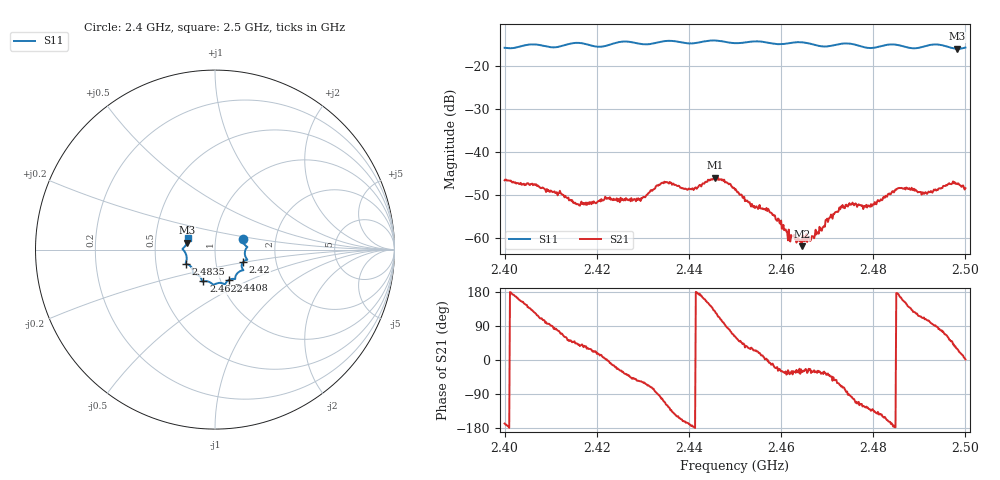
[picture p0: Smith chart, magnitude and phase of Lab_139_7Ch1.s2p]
# Hz S RI R 50
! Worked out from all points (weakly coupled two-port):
!   601 points, 2.4 GHz to 2.5 GHz, reference 50 ohm
!   highest |S21| = -45.97 dB at 2.4457 GHz (marker M1); lowest = -61.9 dB at 2.4645 GHz (marker M2)
!   lowest |S11| = -15.9 dB at 2.4982 GHz (marker M3), VSWR 1.38, Z = 36.4 + j2.91 ohm
!   |S11| at or under -10 dB: start of sweep to end of sweep
!   S12 and S22 are empty: the file has one direction only
!   S11 on the Smith chart (normalised r, x): 2.4 GHz: 1.35, +0.16; 2.42 GHz: 1.35, -0.20; 2.4408 GHz: 1.09, -0.38; 2.4622 GHz: 0.83, -0.30; 2.4835 GHz: 0.71, -0.12; 2.5 GHz: 0.73, +0.10
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2.4e9  0.154 0.0591  -0.00459 -0.001  0 0  0 0
2.406833e9  0.1797 0.0137  -0.00219 0.00361  0 0  0 0
2.416667e9  0.178 -0.057  0.00202 0.00172  0 0  0 0
2.42e9  0.1549 -0.0707  0.00248 0.00073  0 0  0 0
2.429e9  0.1423 -0.1188  0.00168 -0.00236  0 0  0 0
2.433333e9  0.1132 -0.1539  -8.72e-05 -0.00406  0 0  0 0
2.440833e9  0.0763 -0.1697  -0.00377 -0.000296  0 0  0 0
2.445667e9  0.054 -0.1934  -0.00309 0.00396  0 0  0 0
2.45e9  0.025 -0.1853  0.00168 0.00323  0 0  0 0
2.453833e9  -0.00478 -0.1954  0.00207 0.00113  0 0  0 0
2.457333e9  -0.0195 -0.1876  0.0021 -0.000259  0 0  0 0
2.462167e9  -0.0645 -0.177  0.000923 -0.000567  0 0  0 0
2.4645e9  -0.0727 -0.1772  0.00069 -0.000406  0 0  0 0
2.466667e9  -0.0751 -0.1661  0.00091 -0.000524  0 0  0 0
2.473167e9  -0.1227 -0.1375  0.000833 -0.00212  0 0  0 0
2.479167e9  -0.1308 -0.099  -0.00149 -0.0018  0 0  0 0
2.483333e9  -0.1616 -0.0789  -0.00311 -0.000987  0 0  0 0
2.4835e9  -0.1622 -0.0789  -0.00315 -0.000976  0 0  0 0
2.485833e9  -0.1612 -0.0695  -0.00369 0.000938  0 0  0 0
2.491333e9  -0.1726 -0.0065  -0.00106 0.00325  0 0  0 0
2.498167e9  -0.1558 0.039  0.00374 0.00216  0 0  0 0
2.5e9  -0.1526 0.0656  0.00379 0.000113  0 0  0 0
